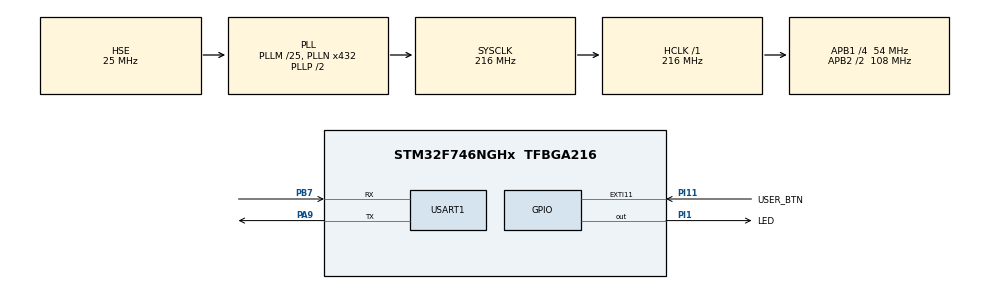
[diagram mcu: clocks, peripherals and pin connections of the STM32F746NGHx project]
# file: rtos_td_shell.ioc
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FREERTOS.Tasks01=defaultTask,0,128,StartDefaultTask,Default,NULL,Dynamic,NULL,NULL
FREERTOS.configGENERATE_RUN_TIME_STATS=1
FREERTOS.configTOTAL_HEAP_SIZE=19000
FREERTOS.configUSE_STATS_FORMATTING_FUNCTIONS=1
FREERTOS.configUSE_TRACE_FACILITY=1
Mcu.Family=STM32F7
Mcu.Name=STM32F746NGHx
Mcu.Package=TFBGA216
NVIC.PriorityGroup=NVIC_PRIORITYGROUP_4
NVIC.TIM6_DAC_IRQn=true\:15\:0\:false\:false\:true\:false\:false\:true\:true
NVIC.TimeBase=TIM6_DAC_IRQn
NVIC.TimeBaseIP=TIM6
NVIC.USART1_IRQn=true\:6\:0\:true\:false\:true\:true\:true\:true\:true
PA13.Mode=Serial_Wire
PA13.Signal=SYS_JTMS-SWDIO
PA14.Mode=Serial_Wire
PA14.Signal=SYS_JTCK-SWCLK
PA9.Mode=Asynchronous
PA9.Signal=USART1_TX
PB7.Mode=Asynchronous
PB7.Signal=USART1_RX
PH0/OSC_IN.Mode=HSE-External-Oscillator
PH0/OSC_IN.Signal=RCC_OSC_IN
PH1/OSC_OUT.Mode=HSE-External-Oscillator
PH1/OSC_OUT.Signal=RCC_OSC_OUT
PI1.GPIO_Label=LED
PI1.Signal=GPIO_Output
PI11.GPIO_Label=USER_BTN
PI11.Signal=GPXTI11
ProjectManager.HeapSize=0x200
ProjectManager.StackSize=0x400
ProjectManager.TargetToolchain=STM32CubeIDE
RCC.AHBFreq_Value=216000000
RCC.APB1CLKDivider=RCC_HCLK_DIV4
RCC.APB1Freq_Value=54000000
RCC.APB1TimFreq_Value=108000000
RCC.APB2CLKDivider=RCC_HCLK_DIV2
RCC.APB2Freq_Value=108000000
RCC.APB2TimFreq_Value=216000000
RCC.CortexFreq_Value=216000000
RCC.HCLKFreq_Value=216000000
RCC.HSE_VALUE=25000000
RCC.HSI_VALUE=16000000
RCC.LSE_VALUE=32768
RCC.PLLM=25
RCC.PLLN=432
RCC.PLLSourceVirtual=RCC_PLLSOURCE_HSE
RCC.SYSCLKFreq_VALUE=216000000
RCC.SYSCLKSource=RCC_SYSCLKSOURCE_PLLCLK
RCC.USBFreq_Value=216000000
RCC.VCOOutputFreq_Value=432000000
USART1.VirtualMode-Asynchronous=VM_ASYNC
VP_FREERTOS_VS_CMSIS_V1.Mode=CMSIS_V1
VP_SYS_VS_tim6.Mode=TIM6
board=STM32F746G-DISCO

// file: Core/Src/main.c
/* USER CODE BEGIN Header */
/**
 ******************************************************************************
 * @file           : main.c
 * @brief          : Main program body
 ******************************************************************************
 * @attention
 *
 * Copyright (c) 2022 STMicroelectronics.
 * All rights reserved.
 *
 * This software is licensed under terms that can be found in the LICENSE file
 * in the root directory of this software component.
 * If no LICENSE file comes with this software, it is provided AS-IS.
 *
 ******************************************************************************
 */
/* USER CODE END Header */
#include "main.h"
#include "cmsis_os.h"
#include "usart.h"
#include "gpio.h"

/* USER CODE BEGIN Includes */
#include <stdio.h>
#include <stdlib.h>
#include "shell.h"
#include "uart_drv.h"
/* USER CODE END Includes */

/* USER CODE BEGIN PD */
#define STACK_DEPTH	500
#define TASK_BIDON_PRIORITY 3
/* USER CODE END PD */

/* USER CODE BEGIN PV */
h_shell_t shell;
int ledPeriod = 0;
int error=1;
TaskHandle_t ledTaskHandler;
TaskHandle_t taskBidonhandler;
char statistiques[256];
/* USER CODE END PV */

void SystemClock_Config(void);
void MX_FREERTOS_Init(void);

/* USER CODE BEGIN 0 */
int __io_putchar(int ch)
{
	HAL_UART_Transmit(&huart1, (uint8_t*)&ch, 1, HAL_MAX_DELAY);

	return ch;
}

int fonction(h_shell_t* shell, int argc, char ** argv)
{
	printf("Je suis une fonction bidon\r\n");

	return 0;
}

int ledBlink(h_shell_t* shell, int argc, char ** argv)
{
	if(argc != 2){
		printf("l should be used like this : l <int>\r\n");
	}
	else {
		ledPeriod = atoi(argv[1]);
		if(ledPeriod == 0)
			vTaskSuspend(ledTaskHandler);
		else
			vTaskResume(ledTaskHandler);
	}

	return 0;
}

static void ledTask (void * pvParameters){
	while(1){
		HAL_GPIO_TogglePin(LED_GPIO_Port, LED_Pin);
		vTaskDelay(ledPeriod);
	}
}

int GetRunTimeStats(h_shell_t* shell, int argc, char ** argv){
	vTaskGetRunTimeStats((char *) &statistiques);
	printf("%s",statistiques);
	return 0;
}

int fonction_test(h_shell_t * shell, int argc, char ** argv){
	printf("test reussi\r\n");
	return 0;
}

/* USER CODE END 0 */

int main(void)
{

	/* MCU Configuration--------------------------------------------------------*/

	/* Reset of all peripherals, Initializes the Flash interface and the Systick. */
	HAL_Init();

	/* Configure the system clock */
	SystemClock_Config();

	/* Initialize all configured peripherals */
	MX_GPIO_Init();
	MX_USART1_UART_Init();
	/* USER CODE BEGIN 2 */

	//ratachement des fonctions de communication au shell
	shell.uart.receive = drv_uart_receive;
	shell.uart.transmit = drv_uart_transmit;

	drv_uart_init();

	shell_init(&shell);

	//ajout de fonctions dans la liste du shell
	shell_add(&shell, "bidon", fonction, "Une fonction inutile");
	shell_add(&shell, "led", ledBlink, "Fait clignoter la LED");
	shell_add(&shell,"GetRunStats", GetRunTimeStats, "GetRunTimeStats");
	shell_add(&shell,"test",fonction_test, "fonction test");
	shell_start(&shell);

	//creation de la tache du shell
	if(pdTRUE != xTaskCreate(ledTask, "ledTask", STACK_DEPTH, (void*) NULL, 9, &ledTaskHandler)){
		printf("task failed");
		Error_Handler();
	}

	vTaskStartScheduler();
	/* USER CODE END 2 */

	/* Call init function for freertos objects (in freertos.c) */
	MX_FREERTOS_Init();

	/* Start scheduler */
	osKernelStart();

	/* We should never get here as control is now taken by the scheduler */
	/* Infinite loop */
	while (1)
	{

	}
}

void SystemClock_Config(void)
{
	RCC_OscInitTypeDef RCC_OscInitStruct = {0};
	RCC_ClkInitTypeDef RCC_ClkInitStruct = {0};

	/** Configure the main internal regulator output voltage
	 */
	__HAL_RCC_PWR_CLK_ENABLE();
	__HAL_PWR_VOLTAGESCALING_CONFIG(PWR_REGULATOR_VOLTAGE_SCALE1);

	/** Initializes the RCC Oscillators according to the specified parameters
	 * in the RCC_OscInitTypeDef structure.
	 */
	RCC_OscInitStruct.OscillatorType = RCC_OSCILLATORTYPE_HSE;
	RCC_OscInitStruct.HSEState = RCC_HSE_ON;
	RCC_OscInitStruct.PLL.PLLState = RCC_PLL_ON;
	RCC_OscInitStruct.PLL.PLLSource = RCC_PLLSOURCE_HSE;
	RCC_OscInitStruct.PLL.PLLM = 25;
	RCC_OscInitStruct.PLL.PLLN = 432;
	RCC_OscInitStruct.PLL.PLLP = RCC_PLLP_DIV2;
	RCC_OscInitStruct.PLL.PLLQ = 2;
	if (HAL_RCC_OscConfig(&RCC_OscInitStruct) != HAL_OK)
	{
		Error_Handler();
	}

	/** Activate the Over-Drive mode
	 */
	if (HAL_PWREx_EnableOverDrive() != HAL_OK)
	{
		Error_Handler();
	}

	/** Initializes the CPU, AHB and APB buses clocks
	 */
	RCC_ClkInitStruct.ClockType = RCC_CLOCKTYPE_HCLK|RCC_CLOCKTYPE_SYSCLK
			|RCC_CLOCKTYPE_PCLK1|RCC_CLOCKTYPE_PCLK2;
	RCC_ClkInitStruct.SYSCLKSource = RCC_SYSCLKSOURCE_PLLCLK;
	RCC_ClkInitStruct.AHBCLKDivider = RCC_SYSCLK_DIV1;
	RCC_ClkInitStruct.APB1CLKDivider = RCC_HCLK_DIV4;
	RCC_ClkInitStruct.APB2CLKDivider = RCC_HCLK_DIV2;

	if (HAL_RCC_ClockConfig(&RCC_ClkInitStruct, FLASH_LATENCY_7) != HAL_OK)
	{
		Error_Handler();
	}
}

void HAL_TIM_PeriodElapsedCallback(TIM_HandleTypeDef *htim)
{
	if (htim->Instance == TIM6) {
		HAL_IncTick();
	}
}

void Error_Handler(void)
{
	__disable_irq();
	while (1)
	{
	}
}
